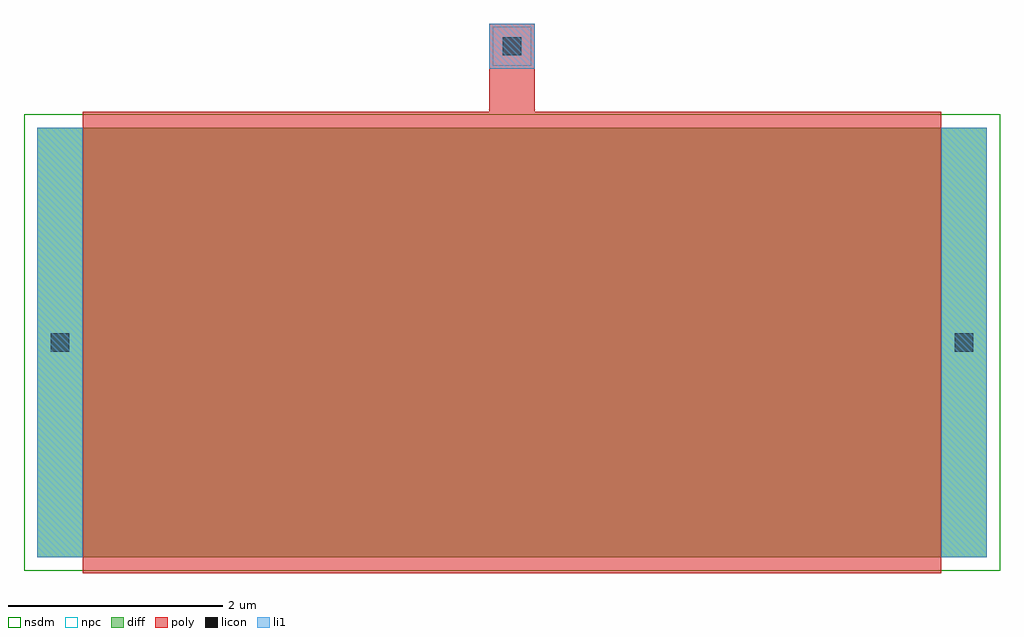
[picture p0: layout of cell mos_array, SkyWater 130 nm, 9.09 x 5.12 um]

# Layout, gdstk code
import gdstk
lib = gdstk.Library(unit=1e-6, precision=1e-09)
def R(c, l, rs):  # rectangles x0, y0, x1, y1
    for r in rs: c.add(gdstk.rectangle(r[:2], r[2:], *l))
diff = (65, 20)
poly = (66, 20)
licon = (66, 44)
li1 = (67, 20)
nsdm = (93, 44)
npc = (95, 20)

mos_array = lib.new_cell('mos_array')
R(mos_array, diff, [(0,0,8.84,4)])
R(mos_array, poly, [(0.42,-0.15,8.42,4), (0.42,4,8.42,4.15), (0.42,4,8.42,4.15), (4.21,4.15,4.63,4.97)])
R(mos_array, licon, [(0.125,1.915,0.295,2.085), (8.545,1.915,8.715,2.085), (4.335,4.675,4.505,4.845)])
R(mos_array, li1, [(0,0,0.42,4), (8.42,0,8.84,4), (4.21,4.55,4.63,4.97)])
R(mos_array, nsdm, [(-0.125,-0.125,8.965,4.125)])
R(mos_array, npc, [(4.24,4.58,4.6,4.94)])

lib.write_gds('mos_array.gds')
